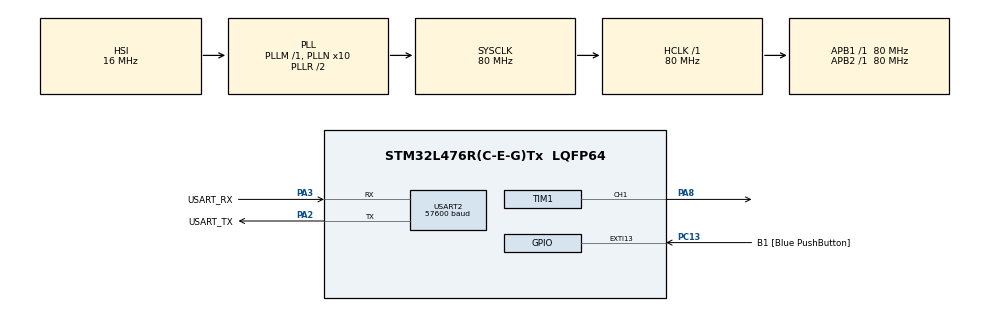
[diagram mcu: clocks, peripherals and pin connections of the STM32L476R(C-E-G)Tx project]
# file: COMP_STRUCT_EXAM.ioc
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Dma.Request0=USART2_RX
Dma.Request1=USART2_TX
Dma.USART2_RX.0.Direction=DMA_PERIPH_TO_MEMORY
Dma.USART2_RX.0.Instance=DMA1_Channel6
Dma.USART2_RX.0.MemDataAlignment=DMA_MDATAALIGN_BYTE
Dma.USART2_RX.0.MemInc=DMA_MINC_ENABLE
Dma.USART2_RX.0.Mode=DMA_NORMAL
Dma.USART2_RX.0.PeriphDataAlignment=DMA_PDATAALIGN_BYTE
Dma.USART2_RX.0.PeriphInc=DMA_PINC_DISABLE
Dma.USART2_RX.0.Priority=DMA_PRIORITY_LOW
Dma.USART2_TX.1.Direction=DMA_MEMORY_TO_PERIPH
Dma.USART2_TX.1.Instance=DMA1_Channel7
Dma.USART2_TX.1.MemDataAlignment=DMA_MDATAALIGN_BYTE
Dma.USART2_TX.1.MemInc=DMA_MINC_ENABLE
Dma.USART2_TX.1.Mode=DMA_NORMAL
Dma.USART2_TX.1.PeriphDataAlignment=DMA_PDATAALIGN_BYTE
Dma.USART2_TX.1.PeriphInc=DMA_PINC_DISABLE
Dma.USART2_TX.1.Priority=DMA_PRIORITY_LOW
Mcu.Family=STM32L4
Mcu.Name=STM32L476R(C-E-G)Tx
Mcu.Package=LQFP64
NVIC.DMA1_Channel6_IRQn=true\:0\:0\:false\:false\:true\:false\:true\:true
NVIC.DMA1_Channel7_IRQn=true\:0\:0\:false\:false\:true\:false\:true\:true
NVIC.PriorityGroup=NVIC_PRIORITYGROUP_4
NVIC.USART2_IRQn=true\:0\:0\:false\:false\:true\:true\:true\:true
PA13\ (JTMS-SWDIO).GPIO_Label=TMS
PA13\ (JTMS-SWDIO).Mode=Serial_Wire
PA13\ (JTMS-SWDIO).Signal=SYS_JTMS-SWDIO
PA14\ (JTCK-SWCLK).GPIO_Label=TCK
PA14\ (JTCK-SWCLK).Mode=Serial_Wire
PA14\ (JTCK-SWCLK).Signal=SYS_JTCK-SWCLK
PA2.GPIO_Label=USART_TX
PA2.GPIO_Mode=GPIO_MODE_AF_PP
PA2.GPIO_PuPd=GPIO_NOPULL
PA2.GPIO_Speed=GPIO_SPEED_FREQ_VERY_HIGH
PA2.Mode=Asynchronous
PA2.Signal=USART2_TX
PA3.GPIO_Label=USART_RX
PA3.GPIO_Mode=GPIO_MODE_AF_PP
PA3.GPIO_PuPd=GPIO_NOPULL
PA3.GPIO_Speed=GPIO_SPEED_FREQ_VERY_HIGH
PA3.Mode=Asynchronous
PA3.Signal=USART2_RX
PA8.Signal=S_TIM1_CH1
PB3\ (JTDO-TRACESWO).GPIO_Label=SWO
PB3\ (JTDO-TRACESWO).Signal=SYS_JTDO-SWO
PC13.GPIO_Label=B1 [Blue PushButton]
PC13.GPIO_ModeDefaultEXTI=GPIO_MODE_IT_FALLING
PC13.GPIO_PuPd=GPIO_NOPULL
PC13.Signal=GPXTI13
PC14-OSC32_IN\ (PC14).Mode=LSE-External-Oscillator
PC14-OSC32_IN\ (PC14).Signal=RCC_OSC32_IN
PC15-OSC32_OUT\ (PC15).Mode=LSE-External-Oscillator
PC15-OSC32_OUT\ (PC15).Signal=RCC_OSC32_OUT
PH0-OSC_IN\ (PH0).Signal=RCC_OSC_IN
PH1-OSC_OUT\ (PH1).Signal=RCC_OSC_OUT
ProjectManager.HeapSize=0x200
ProjectManager.StackSize=0x400
ProjectManager.TargetToolchain=STM32CubeIDE
RCC.ADCFreq_Value=64000000
RCC.AHBFreq_Value=80000000
RCC.APB1Freq_Value=80000000
RCC.APB1TimFreq_Value=80000000
RCC.APB2Freq_Value=80000000
RCC.APB2TimFreq_Value=80000000
RCC.CortexFreq_Value=80000000
RCC.HCLKFreq_Value=80000000
RCC.HSE_VALUE=8000000
RCC.HSI_VALUE=16000000
RCC.MSI_VALUE=4000000
RCC.PLLN=10
RCC.PLLSourceVirtual=RCC_PLLSOURCE_HSI
RCC.PREFETCH_ENABLE=1
RCC.SYSCLKFreq_VALUE=80000000
RCC.SYSCLKSource=RCC_SYSCLKSOURCE_PLLCLK
RCC.USBFreq_Value=64000000
RCC.VCOOutputFreq_Value=160000000
SH.S_TIM1_CH1.0=TIM1_CH1,PWM Generation1 CH1
TIM1.Channel-PWM\ Generation1\ CH1=TIM_CHANNEL_1
TIM1.Period=20000
TIM1.Prescaler=80-1
TIM1.Pulse-PWM\ Generation1\ CH1=500
USART2.BaudRate=57600
USART2.VirtualMode-Asynchronous=VM_ASYNC
VP_TIM1_VS_ClockSourceINT.Mode=Internal
board=NUCLEO-L476RG

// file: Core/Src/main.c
/* USER CODE BEGIN Header */
/**
  ******************************************************************************
  * @file           : main.c
  * @brief          : Main program body
  ******************************************************************************
  * @attention
  *
  * Copyright (c) 2023 STMicroelectronics.
  * All rights reserved.
  *
  * This software is licensed under terms that can be found in the LICENSE file
  * in the root directory of this software component.
  * If no LICENSE file comes with this software, it is provided AS-IS.
  *
  ******************************************************************************
  */
/* USER CODE END Header */
#include "main.h"

TIM_HandleTypeDef htim1;

UART_HandleTypeDef huart2;
DMA_HandleTypeDef hdma_usart2_rx;
DMA_HandleTypeDef hdma_usart2_tx;

/* USER CODE BEGIN PV */
	uint8_t tx_busy;
	uint8_t Rx_data [4];
	uint8_t rx_buffer [4];
/* USER CODE END PV */

void SystemClock_Config(void);
static void MX_GPIO_Init(void);
static void MX_DMA_Init(void);
static void MX_USART2_UART_Init(void);
static void MX_TIM1_Init(void);

/* USER CODE BEGIN 0 */
int _write(int file,char *ptr, int len)
{
	while (tx_busy != 0)
	{
		/*wait*/
	}
	HAL_UART_Transmit_IT(&huart2, (uint8_t*)ptr, len);
	tx_busy = 1;
	return len;
}

void HAL_UART_RxCpltCallback(UART_HandleTypeDef *huart)
{
	printf("Received: [%s]\r\n", rx_buffer);

	HAL_UART_Receive_IT(&huart2, rx_buffer, 4);//restart the interrupt reception mode
}
void HAL_UART_TxCpltCallback(UART_HandleTypeDef *huart)
{
	tx_busy = 0;
}
/* USER CODE END 0 */

int main(void)
{

  /* MCU Configuration--------------------------------------------------------*/

  /* Reset of all peripherals, Initializes the Flash interface and the Systick. */
  HAL_Init();

  /* Configure the system clock */
  SystemClock_Config();

  /* Initialize all configured peripherals */
  MX_GPIO_Init();
  MX_DMA_Init();
  MX_USART2_UART_Init();
  MX_TIM1_Init();
  /* USER CODE BEGIN 2 */
  HAL_TIM_PWM_Start(&htim1, TIM_CHANNEL_1);//Initialize the PWM in the channel 1
  HAL_UART_Receive_IT(&huart2, rx_buffer, 4);//initialize the UART Reception as interruption mode
  /* USER CODE END 2 */

  /* Infinite loop */
  /* USER CODE BEGIN WHILE */
  while (1)
  {
	  HAL_UART_Transmit(&huart2, rx_buffer, 4, 1000);//print the value that the UART has received every second
	  htim1.Instance->CCR1=rx_buffer;  //Here the PWM sets the duty cycle that was received.
	  HAL_Delay(1000);	  	  	  	  	  	  	  // Time to wait between cycles.
    /* USER CODE END WHILE */

  }
}

void SystemClock_Config(void)
{
  RCC_OscInitTypeDef RCC_OscInitStruct = {0};
  RCC_ClkInitTypeDef RCC_ClkInitStruct = {0};

  /** Configure the main internal regulator output voltage
  */
  if (HAL_PWREx_ControlVoltageScaling(PWR_REGULATOR_VOLTAGE_SCALE1) != HAL_OK)
  {
    Error_Handler();
  }

  /** Initializes the RCC Oscillators according to the specified parameters
  * in the RCC_OscInitTypeDef structure.
  */
  RCC_OscInitStruct.OscillatorType = RCC_OSCILLATORTYPE_HSI;
  RCC_OscInitStruct.HSIState = RCC_HSI_ON;
  RCC_OscInitStruct.HSICalibrationValue = RCC_HSICALIBRATION_DEFAULT;
  RCC_OscInitStruct.PLL.PLLState = RCC_PLL_ON;
  RCC_OscInitStruct.PLL.PLLSource = RCC_PLLSOURCE_HSI;
  RCC_OscInitStruct.PLL.PLLM = 1;
  RCC_OscInitStruct.PLL.PLLN = 10;
  RCC_OscInitStruct.PLL.PLLP = RCC_PLLP_DIV7;
  RCC_OscInitStruct.PLL.PLLQ = RCC_PLLQ_DIV2;
  RCC_OscInitStruct.PLL.PLLR = RCC_PLLR_DIV2;
  if (HAL_RCC_OscConfig(&RCC_OscInitStruct) != HAL_OK)
  {
    Error_Handler();
  }

  /** Initializes the CPU, AHB and APB buses clocks
  */
  RCC_ClkInitStruct.ClockType = RCC_CLOCKTYPE_HCLK|RCC_CLOCKTYPE_SYSCLK
                              |RCC_CLOCKTYPE_PCLK1|RCC_CLOCKTYPE_PCLK2;
  RCC_ClkInitStruct.SYSCLKSource = RCC_SYSCLKSOURCE_PLLCLK;
  RCC_ClkInitStruct.AHBCLKDivider = RCC_SYSCLK_DIV1;
  RCC_ClkInitStruct.APB1CLKDivider = RCC_HCLK_DIV1;
  RCC_ClkInitStruct.APB2CLKDivider = RCC_HCLK_DIV1;

  if (HAL_RCC_ClockConfig(&RCC_ClkInitStruct, FLASH_LATENCY_4) != HAL_OK)
  {
    Error_Handler();
  }
}

static void MX_TIM1_Init(void)
{

  TIM_ClockConfigTypeDef sClockSourceConfig = {0};
  TIM_MasterConfigTypeDef sMasterConfig = {0};
  TIM_OC_InitTypeDef sConfigOC = {0};
  TIM_BreakDeadTimeConfigTypeDef sBreakDeadTimeConfig = {0};

  htim1.Instance = TIM1;
  htim1.Init.Prescaler = 80-1;
  htim1.Init.CounterMode = TIM_COUNTERMODE_UP;
  htim1.Init.Period = 20000;
  htim1.Init.ClockDivision = TIM_CLOCKDIVISION_DIV1;
  htim1.Init.RepetitionCounter = 0;
  htim1.Init.AutoReloadPreload = TIM_AUTORELOAD_PRELOAD_DISABLE;
  if (HAL_TIM_Base_Init(&htim1) != HAL_OK)
  {
    Error_Handler();
  }
  sClockSourceConfig.ClockSource = TIM_CLOCKSOURCE_INTERNAL;
  if (HAL_TIM_ConfigClockSource(&htim1, &sClockSourceConfig) != HAL_OK)
  {
    Error_Handler();
  }
  if (HAL_TIM_PWM_Init(&htim1) != HAL_OK)
  {
    Error_Handler();
  }
  sMasterConfig.MasterOutputTrigger = TIM_TRGO_RESET;
  sMasterConfig.MasterOutputTrigger2 = TIM_TRGO2_RESET;
  sMasterConfig.MasterSlaveMode = TIM_MASTERSLAVEMODE_DISABLE;
  if (HAL_TIMEx_MasterConfigSynchronization(&htim1, &sMasterConfig) != HAL_OK)
  {
    Error_Handler();
  }
  sConfigOC.OCMode = TIM_OCMODE_PWM1;
  sConfigOC.Pulse = 500;
  sConfigOC.OCPolarity = TIM_OCPOLARITY_HIGH;
  sConfigOC.OCNPolarity = TIM_OCNPOLARITY_HIGH;
  sConfigOC.OCFastMode = TIM_OCFAST_DISABLE;
  sConfigOC.OCIdleState = TIM_OCIDLESTATE_RESET;
  sConfigOC.OCNIdleState = TIM_OCNIDLESTATE_RESET;
  if (HAL_TIM_PWM_ConfigChannel(&htim1, &sConfigOC, TIM_CHANNEL_1) != HAL_OK)
  {
    Error_Handler();
  }
  sBreakDeadTimeConfig.OffStateRunMode = TIM_OSSR_DISABLE;
  sBreakDeadTimeConfig.OffStateIDLEMode = TIM_OSSI_DISABLE;
  sBreakDeadTimeConfig.LockLevel = TIM_LOCKLEVEL_OFF;
  sBreakDeadTimeConfig.DeadTime = 0;
  sBreakDeadTimeConfig.BreakState = TIM_BREAK_DISABLE;
  sBreakDeadTimeConfig.BreakPolarity = TIM_BREAKPOLARITY_HIGH;
  sBreakDeadTimeConfig.BreakFilter = 0;
  sBreakDeadTimeConfig.Break2State = TIM_BREAK2_DISABLE;
  sBreakDeadTimeConfig.Break2Polarity = TIM_BREAK2POLARITY_HIGH;
  sBreakDeadTimeConfig.Break2Filter = 0;
  sBreakDeadTimeConfig.AutomaticOutput = TIM_AUTOMATICOUTPUT_DISABLE;
  if (HAL_TIMEx_ConfigBreakDeadTime(&htim1, &sBreakDeadTimeConfig) != HAL_OK)
  {
    Error_Handler();
  }
  HAL_TIM_MspPostInit(&htim1);

}

static void MX_USART2_UART_Init(void)
{

  huart2.Instance = USART2;
  huart2.Init.BaudRate = 57600;
  huart2.Init.WordLength = UART_WORDLENGTH_8B;
  huart2.Init.StopBits = UART_STOPBITS_1;
  huart2.Init.Parity = UART_PARITY_NONE;
  huart2.Init.Mode = UART_MODE_TX_RX;
  huart2.Init.HwFlowCtl = UART_HWCONTROL_NONE;
  huart2.Init.OverSampling = UART_OVERSAMPLING_16;
  huart2.Init.OneBitSampling = UART_ONE_BIT_SAMPLE_DISABLE;
  huart2.AdvancedInit.AdvFeatureInit = UART_ADVFEATURE_NO_INIT;
  if (HAL_UART_Init(&huart2) != HAL_OK)
  {
    Error_Handler();
  }

}

static void MX_DMA_Init(void)
{

  /* DMA controller clock enable */
  __HAL_RCC_DMA1_CLK_ENABLE();

  /* DMA interrupt init */
  /* DMA1_Channel6_IRQn interrupt configuration */
  HAL_NVIC_SetPriority(DMA1_Channel6_IRQn, 0, 0);
  HAL_NVIC_EnableIRQ(DMA1_Channel6_IRQn);
  /* DMA1_Channel7_IRQn interrupt configuration */
  HAL_NVIC_SetPriority(DMA1_Channel7_IRQn, 0, 0);
  HAL_NVIC_EnableIRQ(DMA1_Channel7_IRQn);

}

static void MX_GPIO_Init(void)
{
  GPIO_InitTypeDef GPIO_InitStruct = {0};

  /* GPIO Ports Clock Enable */
  __HAL_RCC_GPIOC_CLK_ENABLE();
  __HAL_RCC_GPIOH_CLK_ENABLE();
  __HAL_RCC_GPIOA_CLK_ENABLE();
  __HAL_RCC_GPIOB_CLK_ENABLE();

  /*Configure GPIO pin : B1_Pin */
  GPIO_InitStruct.Pin = B1_Pin;
  GPIO_InitStruct.Mode = GPIO_MODE_IT_FALLING;
  GPIO_InitStruct.Pull = GPIO_NOPULL;
  HAL_GPIO_Init(B1_GPIO_Port, &GPIO_InitStruct);

}

void Error_Handler(void)
{
  __disable_irq();
  while (1)
  {
  }
}
